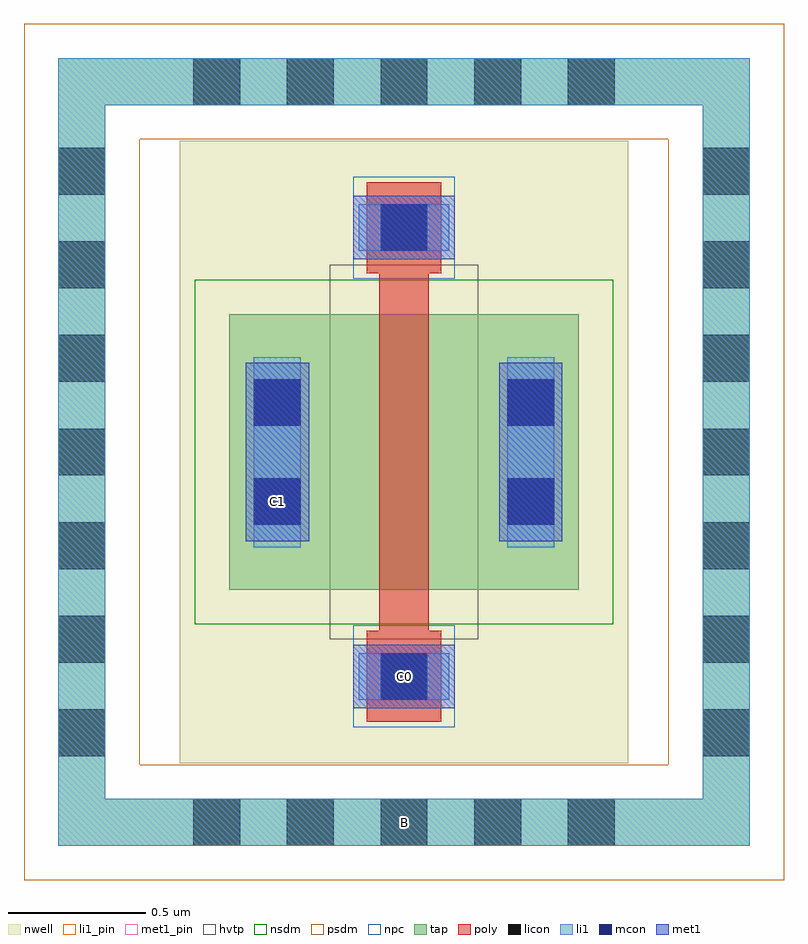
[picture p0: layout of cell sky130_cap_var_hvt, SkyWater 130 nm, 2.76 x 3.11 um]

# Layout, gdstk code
import gdstk
lib = gdstk.Library(unit=1e-6, precision=1e-09)
def R(c, l, rs):  # rectangles x0, y0, x1, y1
    for r in rs: c.add(gdstk.rectangle(r[:2], r[2:], *l))
def A(c, l, x, y, w, h, nx, ny, dx, dy):  # array of equal rectangles
    R(c, l, [(x+i*dx, y+j*dy, x+i*dx+w, y+j*dy+h) for i in range(nx) for j in range(ny)])
def P(c, l, *ps):  # polygons
    for p in ps: c.add(gdstk.Polygon(p, *l))
nwell = (64, 20)
tap = (65, 44)
poly = (66, 20)
licon = (66, 44)
li1_pin = (67, 16)
li1 = (67, 20)
mcon = (67, 44)
met1_pin = (68, 16)
met1 = (68, 20)
hvtp = (78, 44)
nsdm = (93, 44)
psdm = (94, 20)
npc = (95, 20)

cap_var = lib.new_cell('cap_var')
R(cap_var, nwell, [(-0.18,-0.49,1.45,1.49)])
R(cap_var, tap, [(0,0,1.27,1)])
P(cap_var, tap, [(-0.62,-0.93),(-0.62,1.76),(-0.45,1.76),(-0.45,-0.76),(1.72,-0.76),(1.72,1.76),(-0.62,1.76),(-0.62,1.93),(1.89,1.93),(1.89,-0.93)])
R(cap_var, poly, [(0.5,-0.48,0.77,-0.15), (0.545,-0.15,0.725,1.15), (0.5,1.15,0.77,1.48)])
A(cap_var, licon, -0.13, -0.93, 0.17, 0.17, 5, 2, 0.34, 2.69)
A(cap_var, licon, -0.62, -0.605, 0.17, 0.17, 1, 7, 0, 0.34)
A(cap_var, licon, 1.72, -0.605, 0.17, 0.17, 1, 7, 0, 0.34)
R(cap_var, licon, [(0.55,-0.4,0.72,-0.23), (0.09,0.235,0.26,0.405), (1.01,0.235,1.18,0.405), (0.09,0.595,0.26,0.765), (1.01,0.595,1.18,0.765), (0.55,1.23,0.72,1.4)])
R(cap_var, li1, [(0.47,-0.4,0.8,-0.23), (0.09,0.155,0.26,0.845), (1.01,0.155,1.18,0.845), (0.47,1.23,0.8,1.4)])
R(cap_var, mcon, [(0.55,-0.4,0.72,-0.23), (0.09,0.235,0.26,0.405), (1.01,0.235,1.18,0.405), (0.09,0.595,0.26,0.765), (1.01,0.595,1.18,0.765), (0.55,1.23,0.72,1.4)])
R(cap_var, met1, [(0.45,-0.43,0.82,-0.2), (0.06,0.175,0.29,0.825), (0.98,0.175,1.21,0.825), (0.45,1.2,0.82,1.43)])
R(cap_var, hvtp, [(0.365,-0.18,0.905,1.18)])
R(cap_var, nsdm, [(-0.125,-0.125,1.395,1.125)])
P(cap_var, psdm, [(-0.745,-1.055),(-0.745,1.635),(-0.325,1.635),(-0.325,-0.635),(1.595,-0.635),(1.595,1.635),(-0.745,1.635),(-0.745,2.055),(2.015,2.055),(2.015,-1.055)])
R(cap_var, npc, [(0.49,-0.49,0.78,-0.14), (0.49,1.14,0.78,1.49)])

sky130_cap_var_hvt = lib.new_cell('sky130_cap_var_hvt')
R(sky130_cap_var_hvt, nwell, [(-0.18,-0.63,1.45,1.63)])
R(sky130_cap_var_hvt, li1_pin, [(0.55,-0.93,0.72,-0.76)])
P(sky130_cap_var_hvt, li1, [(-0.62,-0.93),(-0.62,1.76),(-0.45,1.76),(-0.45,-0.76),(1.72,-0.76),(1.72,1.76),(-0.62,1.76),(-0.62,1.93),(1.89,1.93),(1.89,-0.93)])
R(sky130_cap_var_hvt, met1_pin, [(0.55,-0.4,0.72,-0.23), (0.09,0.235,0.26,0.405)])
R(sky130_cap_var_hvt, npc, [(0.45,-0.5,0.82,-0.13), (0.45,1.13,0.82,1.5)])
sky130_cap_var_hvt.add(gdstk.Reference(cap_var, (0,0)))
sky130_cap_var_hvt.add(gdstk.Label('C0', (0.635,-0.315), layer=68, texttype=5))
sky130_cap_var_hvt.add(gdstk.Label('C1', (0.175,0.32), layer=68, texttype=5))
sky130_cap_var_hvt.add(gdstk.Label('B', (0.635,-0.845), layer=67, texttype=5))

lib.write_gds('sky130_cap_var_hvt.gds')
